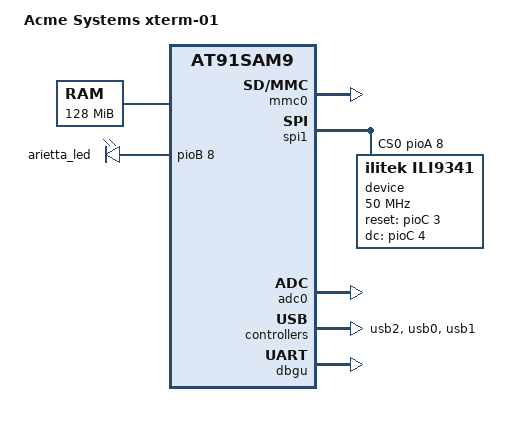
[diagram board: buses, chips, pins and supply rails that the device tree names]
/*
 * acme-xterm-01.dts - Device Tree file for xterm-01
 *
 */
 
/dts-v1/;
#include "at91sam9g25.dtsi"

/ {
	model = "Acme Systems xterm-01";
	compatible = "acme,xterm01", "atmel,at91sam9x5", "atmel,at91sam9";

	aliases {
		serial0 = &dbgu;
	};

	chosen {
		stdout-path = "serial0:115200n8";
		bootargs = "mem=128M console=tty1 console=ttyS0,115200 root=/dev/mmcblk0p2 rootfstype=ext4 rw rootwait consoleblank=0";
	};

	memory {
		reg = <0x20000000 0x8000000>;
	};

	clocks {
		slow_xtal {
			clock-frequency = <32768>;
		};
		main_xtal {
			clock-frequency = <12000000>;
		};
	};

	ahb {
		apb {
			mmc0: mmc@f0008000 {
				pinctrl-0 = <
				  &pinctrl_mmc0_slot0_clk_cmd_dat0
				  &pinctrl_mmc0_slot0_dat1_3>;
				status = "okay";
				slot@0 {
					reg = <0>;
					bus-width = <4>;
				};
			};
			i2c1: i2c@f8014000 {
				status ="disabled";
			};
			usart0: serial@f801c000 {
				pinctrl-0 = <&pinctrl_usart0>;
				status ="disabled";
			};
			usart1: serial@f8020000 {
				pinctrl-0 = <&pinctrl_usart1>;
				status ="disabled";
			};
			
			spi1: spi@f0004000 {
				status = "okay";
				cs-gpios = <&pioA 8 0>;

				device@0 {
					rotate = <270>;
					bgr;
					fps = <30>;
					compatible = "ilitek,ili9341";
					spi-max-frequency = <50000000>;   
					reg = <0>;
					regwidth = <8>;
					buswidth = <8>;
					verbose = <3>;
					reset-gpios = <&pioC 3 0>; /* PC3 - J4.33 */
					dc-gpios = <&pioC 4 0>;    /* PC4 - J4.31 */
				};
			};

			adc0: adc@f804c000 {
				compatible = "atmel,at91sam9x5-adc";
				atmel,adc-clock-rate = <1000000>;
				atmel,adc-ts-wires = <4>;
				atmel,adc-ts-pressure-threshold = <10000>;
				status = "okay";
			};

			pinctrl@fffff400 {
				pwm0 {
					pinctrl_pwm0_0: pwm0_0-0 {
						atmel,pins =
							< AT91_PIOB 11 AT91_PERIPH_B AT91_PINCTRL_NONE>;
					};
					pinctrl_pwm0_1: pwm0_1-0 {
						atmel,pins =
							< AT91_PIOB 12 AT91_PERIPH_B AT91_PINCTRL_NONE>;
					};
					pinctrl_pwm0_2: pwm0_2-0 {
						atmel,pins =
							< AT91_PIOB 13 AT91_PERIPH_B AT91_PINCTRL_NONE>;
					};
					pinctrl_pwm0_3: pwm0_3-0 {
						atmel,pins =
							< AT91_PIOB 14 AT91_PERIPH_B AT91_PINCTRL_NONE>;
					};
				};
			};
			pwm0: pwm@f8034000 {
				pinctrl-names = "default";
				pinctrl-0 = <    &pinctrl_pwm0_2 &pinctrl_pwm0_3>;
				status = "disabled";
			};

			ssc0: ssc@f0010000 {
				status = "disabled";
			};
			usb2: gadget@f803c000 {
				status = "okay";
			};
			dbgu: serial@fffff200 {
				status = "okay";
			};
			pinctrl@fffff400 {
			};
			rtc@fffffeb0 {
				status = "okay";
			};
		};
		usb0: ohci@00600000 {
			status = "okay";
			num-ports = <3>;
		};
		usb1: ehci@00700000 {
			status = "okay";
		};
	};
	leds {
		compatible = "gpio-leds";
		arietta_led {
			label = "arietta_led";
			gpios = <&pioB 8 GPIO_ACTIVE_HIGH>; /* PB8 */
			linux,default-trigger = "heartbeat";
		};
	};
};
